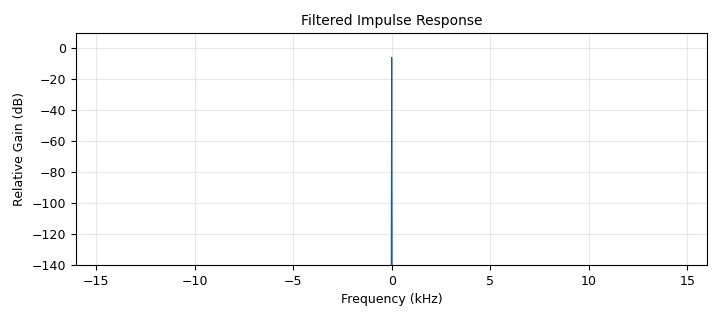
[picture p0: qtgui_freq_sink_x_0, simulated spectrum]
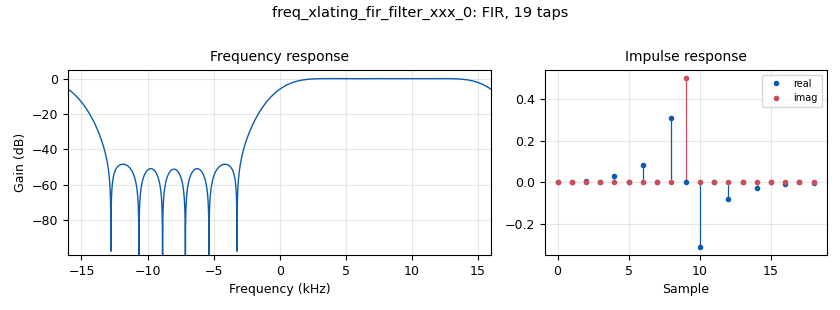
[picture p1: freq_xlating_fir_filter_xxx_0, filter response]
options:
  parameters:
    author: jim
    generate_options: qt_gui
    id: filtering
    output_language: python
    title: Designing Filter Taps
  states: {}

blocks:
- name: bandPassTaps
  id: variable
  parameters:
    value: lowPassTaps*frequencyShift
  states: {}
- name: frequency
  id: variable_qtgui_range
  parameters:
    start: '-samp_rate/2'
    step: '1'
    stop: samp_rate/2
    value: '0'
  states: {}
- name: frequencyShift
  id: variable
  parameters:
    value: np.exp(2j*np.pi*0.25*n)
  states: {}
- name: lowPassTaps
  id: variable_low_pass_filter_taps
  parameters:
    cutoff_freq: samp_rate/4
    gain: '1.0'
    samp_rate: samp_rate
    width: samp_rate/8
    win: window.WIN_HAMMING
  states: {}
- name: n
  id: variable
  parameters:
    value: np.arange(0, len(lowPassTaps))
  states: {}
- name: samp_rate
  id: variable
  parameters:
    value: '32000'
  states: {}
- name: analog_random_source_x_0
  id: analog_random_source_x
  parameters:
    max: int(N/16)
    min: '0'
    num_samps: N
    repeat: 'True'
    type: int
  states: {state: disabled}
- name: analog_random_source_x_0_0
  id: analog_random_source_x
  parameters:
    max: int(N/16)
    min: '0'
    num_samps: N
    repeat: 'True'
    type: int
  states: {state: disabled}
- name: analog_sig_source_x_0
  id: analog_sig_source_x
  parameters:
    amp: '1'
    freq: frequency
    offset: '0'
    phase: '0'
    samp_rate: samp_rate
    type: float
    waveform: analog.GR_COS_WAVE
  states: {}
- name: blocks_float_to_complex_0
  id: blocks_float_to_complex
  parameters: {}
  states: {state: disabled}
- name: blocks_int_to_float_0
  id: blocks_int_to_float
  parameters:
    scale: '1'
  states: {state: disabled}
- name: blocks_int_to_float_0_0
  id: blocks_int_to_float
  parameters:
    scale: '1'
  states: {state: disabled}
- name: blocks_throttle2_0
  id: blocks_throttle2
  parameters:
    samples_per_second: samp_rate
    type: complex
  states: {}
- name: blocks_vector_source_x_0
  id: blocks_vector_source_x
  parameters:
    repeat: 'True'
    type: complex
    vector: (N,)+(0,)*int(N-1)
  states: {state: disabled}
- name: freq_xlating_fir_filter_xxx_0
  id: freq_xlating_fir_filter_xxx
  parameters:
    center_freq: '0'
    decim: '1'
    samp_rate: samp_rate
    taps: bandPassTaps
    type: fcc
  states: {}
- name: import_0
  id: import
  parameters:
    imports: import numpy as np
  states: {}
- name: qtgui_freq_sink_x_0
  id: qtgui_freq_sink_x
  parameters:
    bw: samp_rate
    fc: '0'
    fftsize: '1024'
    name: '"Filtered Impulse Response"'
    type: complex
    wintype: window.WIN_RECTANGULAR
  states: {}

connections:
- [analog_random_source_x_0, '0', blocks_int_to_float_0, '0']
- [analog_random_source_x_0_0, '0', blocks_int_to_float_0_0, '0']
- [analog_sig_source_x_0, '0', freq_xlating_fir_filter_xxx_0, '0']
- [blocks_int_to_float_0, '0', blocks_float_to_complex_0, '1']
- [blocks_int_to_float_0_0, '0', blocks_float_to_complex_0, '0']
- [blocks_int_to_float_0_0, '0', blocks_float_to_complex_0, '1']
- [blocks_throttle2_0, '0', qtgui_freq_sink_x_0, '0']
- [freq_xlating_fir_filter_xxx_0, '0', blocks_throttle2_0, '0']

metadata:
  file_format: 1
  grc_version: 3.10.9.2
